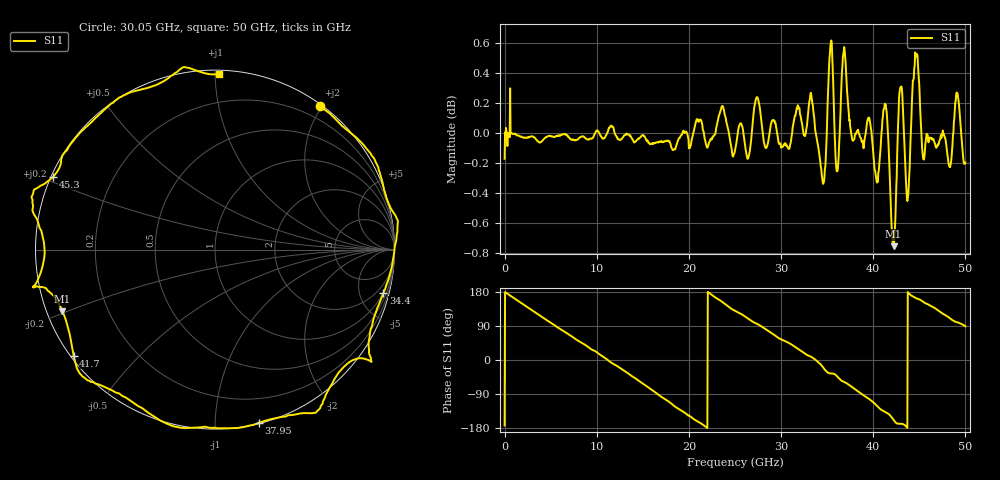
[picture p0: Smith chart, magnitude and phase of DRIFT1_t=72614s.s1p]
!Created with skrf (http://scikit-rf.org).
# Hz S RI R 50.0
!freq ReS11 ImS11
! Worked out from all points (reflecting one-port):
!   1001 points, 300 kHz to 50 GHz, reference 50 ohm
!   lowest |S11| = -0.8 dB at 42.2 GHz (marker M1), VSWR 22.97, Z = 2.26 - j9.68 ohm
!   phase of S11 starts at -173 deg and turns -818 deg over the sweep
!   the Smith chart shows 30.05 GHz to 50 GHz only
!   S11 on the Smith chart (normalised r, x): 30.05 GHz: 0.03, +1.97; 34.4 GHz: 0.98, -7.79; 37.95 GHz: 0.01, -1.28; 41.7 GHz: 0.01, -0.33; 45.3 GHz: 0.01, +0.21; 50 GHz: 0.02, +1.02
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300000  -0.9725 -0.1218
1.450291e9  -0.9126 0.404
3.25028e9  -0.5932 0.8004
6.250262e9  0.1987 0.9786
9.500243e9  0.8876 0.4512
1.250022e10  0.93 -0.352
1.580021e10  0.242 -0.9612
1.73502e10  -0.2112 -0.9706
1.875019e10  -0.5986 -0.7923
2.160017e10  -0.9915 -0.1368
2.345016e10  -0.9298 0.4126
2.500015e10  -0.6274 0.7612
2.745014e10  -0.0833 1.024
3.005012e10  0.5832 0.7989
3.125011e10  0.7822 0.6289
3.32001e10  1.018 0.1645
3.440009e10  0.9387 -0.241
3.520009e10  0.8654 -0.5968
3.750008e10  0.3769 -0.9315
3.795007e10  0.2439 -0.9648
3.960006e10  -0.2401 -0.9815
4.170005e10  -0.7876 -0.5904
4.220005e10  -0.85 -0.3428
4.290004e10  -1.013 -0.2096
4.375004e10  -0.9509 0.0131
4.530003e10  -0.9014 0.4062
4.765001e10  -0.513 0.8574
5e10  0.0196 0.9771
